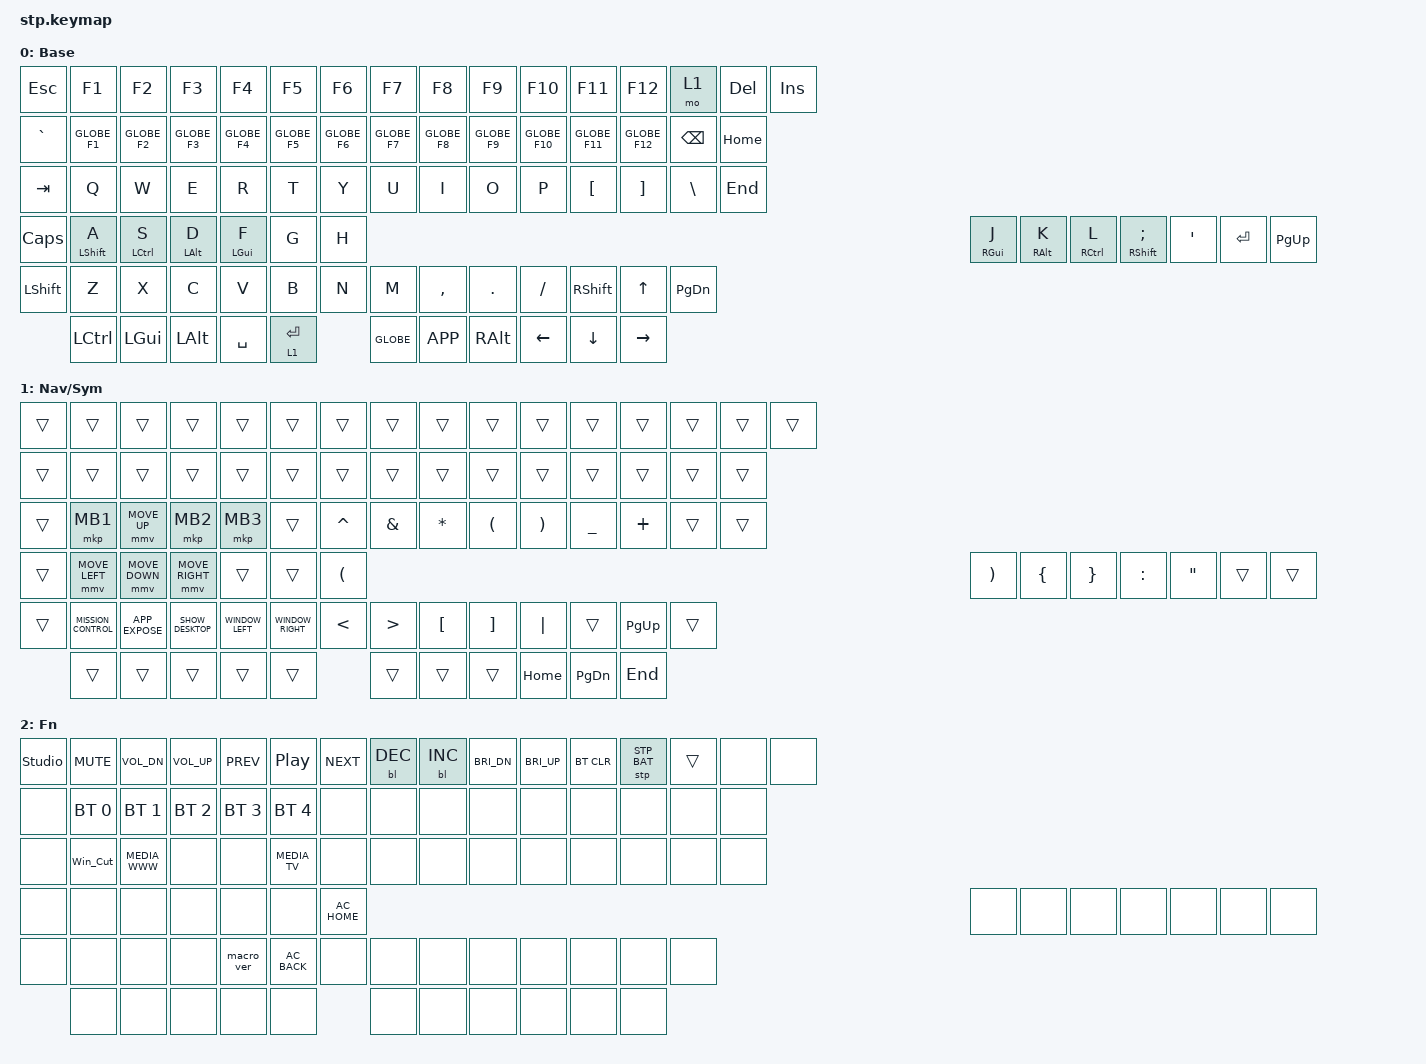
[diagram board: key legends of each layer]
#include <dt-bindings/zmk/reset.h>
#include <dt-bindings/zmk/stp.h>
#include <behaviors.dtsi>
#include <dt-bindings/zmk/backlight.h>
#include <dt-bindings/zmk/bt.h>
#include <dt-bindings/zmk/keys.h>
#include <dt-bindings/zmk/mouse.h>

#include "studio-macros.dtsi"

/ {
    behaviors {
        #include "version.dtsi"
        
        // Home row mod behaviors
        LEFT_HOMEROW_MOD: LEFT_HOMEROW_MOD {
            compatible = "zmk,behavior-hold-tap";
            label = "LEFT_HOMEROW_MOD";
            bindings = <&kp>, <&kp>;
            #binding-cells = <2>;
            tapping-term-ms = <200>;
            quick-tap-ms = <200>;
            flavor = "balanced";
            hold-trigger-key-positions = <36 37 38 39 40 41 42 43 44 45 46 47 48 49 50 51 52 53 54 55 56 57 58 59 60 61 62 63 64 65 66 67 68 69 70 71>;
            hold-trigger-on-release;
            require-prior-idle-ms = <100>;
        };

        RIGHT_HOMEROW_MOD: RIGHT_HOMEROW_MOD {
            compatible = "zmk,behavior-hold-tap";
            label = "RIGHT_HOMEROW_MOD";
            bindings = <&kp>, <&kp>;
            #binding-cells = <2>;
            tapping-term-ms = <200>;
            quick-tap-ms = <200>;
            flavor = "balanced";
            hold-trigger-on-release;
            hold-trigger-key-positions = <0 1 2 3 4 5 6 7 8 9 10 11 12 13 14 15 16 17 18 19 20 21 22 23 24 25 26 27 28 29 30 31 32 33 34 35>;
            require-prior-idle-ms = <100>;
        };
        
        // Layer-tap behavior for space
        LAYER_TAP: LAYER_TAP {
            compatible = "zmk,behavior-hold-tap";
            label = "LAYER_TAP";
            bindings = <&mo>, <&kp>;
            #binding-cells = <2>;
            tapping-term-ms = <200>;
            quick-tap-ms = <200>;
            flavor = "balanced";
        };
        
        // Globe + Number for Function keys
        GLOBE_F1: GLOBE_F1 {
            compatible = "zmk,behavior-mod-morph";
            label = "GLOBE_F1";
            #binding-cells = <0>;
            bindings = <&kp N1>, <&kp F1>;
            mods = <(MOD_LGUI)>; // Using LGUI as Globe
        };
        
        GLOBE_F2: GLOBE_F2 {
            compatible = "zmk,behavior-mod-morph";
            label = "GLOBE_F2";
            #binding-cells = <0>;
            bindings = <&kp N2>, <&kp F2>;
            mods = <(MOD_LGUI)>;
        };
        
        GLOBE_F3: GLOBE_F3 {
            compatible = "zmk,behavior-mod-morph";
            label = "GLOBE_F3";
            #binding-cells = <0>;
            bindings = <&kp N3>, <&kp F3>;
            mods = <(MOD_LGUI)>;
        };
        
        GLOBE_F4: GLOBE_F4 {
            compatible = "zmk,behavior-mod-morph";
            label = "GLOBE_F4";
            #binding-cells = <0>;
            bindings = <&kp N4>, <&kp F4>;
            mods = <(MOD_LGUI)>;
        };
        
        GLOBE_F5: GLOBE_F5 {
            compatible = "zmk,behavior-mod-morph";
            label = "GLOBE_F5";
            #binding-cells = <0>;
            bindings = <&kp N5>, <&kp F5>;
            mods = <(MOD_LGUI)>;
        };
        
        GLOBE_F6: GLOBE_F6 {
            compatible = "zmk,behavior-mod-morph";
            label = "GLOBE_F6";
            #binding-cells = <0>;
            bindings = <&kp N6>, <&kp F6>;
            mods = <(MOD_LGUI)>;
        };
        
        GLOBE_F7: GLOBE_F7 {
            compatible = "zmk,behavior-mod-morph";
            label = "GLOBE_F7";
            #binding-cells = <0>;
            bindings = <&kp N7>, <&kp F7>;
            mods = <(MOD_LGUI)>;
        };
        
        GLOBE_F8: GLOBE_F8 {
            compatible = "zmk,behavior-mod-morph";
            label = "GLOBE_F8";
            #binding-cells = <0>;
            bindings = <&kp N8>, <&kp F8>;
            mods = <(MOD_LGUI)>;
        };
        
        GLOBE_F9: GLOBE_F9 {
            compatible = "zmk,behavior-mod-morph";
            label = "GLOBE_F9";
            #binding-cells = <0>;
            bindings = <&kp N9>, <&kp F9>;
            mods = <(MOD_LGUI)>;
        };
        
        GLOBE_F10: GLOBE_F10 {
            compatible = "zmk,behavior-mod-morph";
            label = "GLOBE_F10";
            #binding-cells = <0>;
            bindings = <&kp N0>, <&kp F10>;
            mods = <(MOD_LGUI)>;
        };
        
        GLOBE_F11: GLOBE_F11 {
            compatible = "zmk,behavior-mod-morph";
            label = "GLOBE_F11";
            #binding-cells = <0>;
            bindings = <&kp MINUS>, <&kp F11>;
            mods = <(MOD_LGUI)>;
        };
        
        GLOBE_F12: GLOBE_F12 {
            compatible = "zmk,behavior-mod-morph";
            label = "GLOBE_F12";
            #binding-cells = <0>;
            bindings = <&kp EQUAL>, <&kp F12>;
            mods = <(MOD_LGUI)>;
        };
        
        // macOS window management macros
        MISSION_CONTROL: MISSION_CONTROL {
            compatible = "zmk,behavior-macro";
            #binding-cells = <0>;
            bindings = <&macro_press &kp LGUI &macro_tap &kp UP_ARROW &macro_release &kp LGUI>;
            label = "MISSION_CONTROL";
        };
        
        APP_EXPOSE: APP_EXPOSE {
            compatible = "zmk,behavior-macro";
            #binding-cells = <0>;
            bindings = <&macro_press &kp LGUI &macro_tap &kp DOWN_ARROW &macro_release &kp LGUI>;
            label = "APP_EXPOSE";
        };
        
        SHOW_DESKTOP: SHOW_DESKTOP {
            compatible = "zmk,behavior-macro";
            #binding-cells = <0>;
            bindings = <&macro_press &kp LGUI &kp F3 &macro_release &kp LGUI>;
            label = "SHOW_DESKTOP";
        };
        
        WINDOW_LEFT: WINDOW_LEFT {
            compatible = "zmk,behavior-macro";
            #binding-cells = <0>;
            bindings = <&macro_press &kp LGUI &kp LEFT_ARROW &macro_release &kp LGUI>;
            label = "WINDOW_LEFT";
        };
        
        WINDOW_RIGHT: WINDOW_RIGHT {
            compatible = "zmk,behavior-macro";
            #binding-cells = <0>;
            bindings = <&macro_press &kp LGUI &kp RIGHT_ARROW &macro_release &kp LGUI>;
            label = "WINDOW_RIGHT";
        };
    };
    
    keymap {
        compatible = "zmk,keymap";

        default_layer {
            display-name = "Base";

            // -----------------------------------------------------------------------------------------------------------
            // | ESC | F1  | F2  | F3  | F4  | F5  | F6  | F7  | F8  | F9  | F10 | F11 | F12 | FN | DEL | INS    |
            // |  `  |  1* |  2* |  3* |  4* |  5* |  6* |  7* |  8* |  9* |  0* |  -* |  =* |   BKSP   | HOME  |
            // | TAB  |  Q  |  W  |  E  |  R  |  T  |  Y  |  U  |  I  |  O  |  P  |  [  |  ]  |    \    | END |
            // | CAPS  |  A† |  S† |  D† |  F† |  G  |  H  |  J‡ |  K‡ |  L‡ |  ;‡ |  '  |     ENTER     | PG UP |
            // |  SHIFT    |  Z  |  X  |  C  |  V  |  B  |  N  |  M  |  ,  |  .  | /   |    SHIFT |  UP  |  PG DN  |
            // |  CTL  |  WIN  |  ALT  |   SPACE   |  |  NAV/ENT  | GLOBE | MENU | ALT |  LEFT | DOWN | RIGHT |
            // ------------------------------------------------------------------------------------------------------------
            // * = Globe+Number for Function keys
            // † = Left Homerow Mods: SHIFT(A), CTRL(S), ALT(D), GUI(F)
            // ‡ = Right Homerow Mods: GUI(J), ALT(K), CTRL(L), SHIFT(;)
            // ------------------------------------------------------------------------------------------------------------

            bindings = <
&kp ESC      &kp F1     &kp F2    &kp F3    &kp F4     &kp F5     &kp F6     &kp F7     &kp F8     &kp F9    &kp F10   &kp F11    &kp F12    &mo 1          &kp DEL   &kp INS
&kp GRAVE    &GLOBE_F1  &GLOBE_F2 &GLOBE_F3 &GLOBE_F4  &GLOBE_F5  &GLOBE_F6  &GLOBE_F7  &GLOBE_F8  &GLOBE_F9 &GLOBE_F10 &GLOBE_F11 &GLOBE_F12 &kp BACKSPACE  &kp HOME
&kp TAB      &kp Q      &kp W     &kp E     &kp R      &kp T      &kp Y      &kp U      &kp I      &kp O     &kp P     &kp LBKT   &kp RBKT   &kp BSLH       &kp END
&kp CLCK     &LEFT_HOMEROW_MOD LSHIFT A  &LEFT_HOMEROW_MOD LCTRL S  &LEFT_HOMEROW_MOD LALT D  &LEFT_HOMEROW_MOD LGUI F  &kp G      &kp H      &RIGHT_HOMEROW_MOD RGUI J  &RIGHT_HOMEROW_MOD RALT K  &RIGHT_HOMEROW_MOD RCTRL L  &RIGHT_HOMEROW_MOD RSHIFT SEMI  &kp SQT    &kp RET    &kp PG_UP
&kp LSHFT    &kp Z      &kp X     &kp C     &kp V      &kp B      &kp N      &kp M      &kp COMMA  &kp DOT   &kp FSLH  &kp RSHFT  &kp UP     &kp PG_DN
             &kp LCTRL  &kp LGUI  &kp LALT  &kp SPACE  &LAYER_TAP 1 ENTER  &kp GLOBE  &kp K_APP  &kp RALT   &kp LEFT  &kp DOWN  &kp RIGHT
            >;
        };

        nav_sym_layer {
            display-name = "Nav/Sym";

            // -----------------------------------------------------------------------------------------------------------
            // | --- | --- | --- | --- | --- | --- | --- | --- | --- | --- | --- | --- | --- | --- | --- | ---    |
            // | --- | --- | --- | --- | --- | --- | --- | --- | --- | --- | --- | --- | --- |   ---    | ---  |
            // | ---  | LMB | MUP | RMB | MMB |  T  |  ^  |  &  |  *  |  (  |  )  |  _  |  +  |   ---   | --- |
            // | ---  | MLT | MDN | MRT | --- | --- |  (  |  )  |  {  |  }  |  :  |  "  |     ---      | --- |
            // |  ---     | MC↑ | AP↓ | DSK | W← | W→ |  <  |  >  |  [  |  ]  | |   |   ---  | ---  |  ---  |
            // |  ---  |  ---  |  ---  |   ---    |  |  ---     | --- | --- | --- | HOME | PGDN | END |
            // ------------------------------------------------------------------------------------------------------------
            // Mouse Keys: LMB=Left Click, RMB=Right Click, MMB=Middle Click, MUP/MDN/MLT/MRT=Mouse movement
            // Window Management: MC↑=Mission Control, AP↓=App Exposé, DSK=Show Desktop, W←/W→=Window Left/Right
            // ------------------------------------------------------------------------------------------------------------

            bindings = <
&trans       &trans     &trans    &trans    &trans     &trans     &trans     &trans     &trans     &trans    &trans    &trans     &trans     &trans         &trans    &trans
&trans       &trans     &trans    &trans    &trans     &trans     &trans     &trans     &trans     &trans    &trans    &trans     &trans     &trans         &trans
&trans       &mkp MB1   &mmv MOVE_UP &mkp MB2 &mkp MB3  &trans     &kp CARET  &kp AMPS   &kp ASTRK  &kp LPAR  &kp RPAR  &kp UNDER  &kp PLUS   &trans         &trans
&trans       &mmv MOVE_LEFT &mmv MOVE_DOWN &mmv MOVE_RIGHT &trans &trans     &kp LPAR   &kp RPAR   &kp LBRC   &kp RBRC  &kp COLON &kp DQT    &trans     &trans
&trans       &MISSION_CONTROL &APP_EXPOSE &SHOW_DESKTOP &WINDOW_LEFT &WINDOW_RIGHT &kp LT &kp GT &kp LBKT &kp RBKT &kp PIPE &trans &kp PG_UP &trans
             &trans     &trans    &trans    &trans     &trans     &trans     &trans     &trans     &kp HOME  &kp PG_DN &kp END
            >;
        };

        raise {
            display-name = "Fn";

            // -----------------------------------------------------------------------------------------------------------
            // | UNLK | MUTE | VOL- | VOL+ | PREV | PLAY | NEXT | BL- | BL+ | BRI- | BRI+ |BTCLR | BAT | --- | --- | --- |
            // | --- | BT1 | BT2 | BT3 | BT4 | BT5 | --- | --- | --- | --- | --- | --- | --- |   ---    | ---  |
            // | ---  | CUT | WWW | --- | --- | TV  | --- | --- | --- | --- | --- | --- | --- |   ---   | --- |
            // | ---  | --- | --- | --- | --- | --- |HOME | --- | --- | --- | --- | --- |     ---      | --- |
            // |  ---     | --- | --- | --- | VER | BACK| --- | --- | --- | --- | --- |   ---  | ---  |  ---  |
            // |  ---  |  ---  |  ---  |   ---    |  |  ---     | --- | --- | --- | --- | --- | --- |
            // ------------------------------------------------------------------------------------------------------------

            bindings = <
&studio_unlock  &kp C_MUTE  &kp C_VOL_DN     &kp C_VOL_UP  &kp C_PREV  &kp C_PP        &kp C_NEXT     &bl BL_DEC  &bl BL_INC  &kp C_BRI_DN  &kp C_BRI_UP  &bt BT_CLR  &stp STP_BAT  &trans  &none  &none
&none           &bt BT_SEL 0 &bt BT_SEL 1    &bt BT_SEL 2  &bt BT_SEL 3 &bt BT_SEL 4   &none          &none       &none       &none         &none         &none       &none         &none   &none
&none           &Win_Cut    &kp C_MEDIA_WWW  &none         &none       &kp C_MEDIA_TV  &none          &none       &none       &none         &none         &none       &none         &none   &none
&none           &none       &none            &none         &none       &none           &kp C_AC_HOME  &none       &none       &none         &none         &none       &none         &none
&none           &none       &none            &none         &macro_ver  &kp C_AC_BACK   &none          &none       &none       &none         &none         &none       &none         &none
                &none       &none            &none         &none       &none           &none          &none       &none       &none         &none         &none
            >;
        };

        extra1 {
            display-name = "Blue";
            status = "reserved";
        };

        extra2 {
            display-name = "Green";
            status = "reserved";
        };

        extra3 {
            display-name = "Red";
            status = "reserved";
        };

        extra4 {
            display-name = "Purple";
            status = "reserved";
        };

        extra5 {
            display-name = "Cyan";
            status = "reserved";
        };

        extra6 {
            display-name = "Yellow";
            status = "reserved";
        };
    };
};
